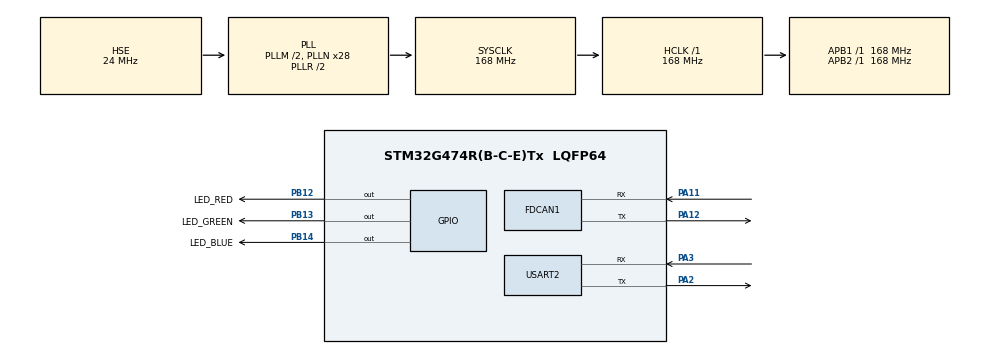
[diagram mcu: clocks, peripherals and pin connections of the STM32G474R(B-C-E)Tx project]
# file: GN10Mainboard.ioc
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FDCAN1.CalculateBaudRateNominal=1000000
FDCAN1.CalculateTimeBitNominal=1000
FDCAN1.CalculateTimeQuantumNominal=41.666666666666664
FDCAN1.NominalPrescaler=1
FDCAN1.NominalTimeSeg1=17
FDCAN1.NominalTimeSeg2=6
Mcu.Family=STM32G4
Mcu.Name=STM32G474R(B-C-E)Tx
Mcu.Package=LQFP64
NVIC.FDCAN1_IT0_IRQn=true\:0\:0\:false\:false\:true\:true\:true\:true
NVIC.PriorityGroup=NVIC_PRIORITYGROUP_4
PA11.Mode=FDCAN_Activate
PA11.Signal=FDCAN1_RX
PA12.Mode=FDCAN_Activate
PA12.Signal=FDCAN1_TX
PA13.Mode=Serial_Wire
PA13.Signal=SYS_JTMS-SWDIO
PA14.Mode=Serial_Wire
PA14.Signal=SYS_JTCK-SWCLK
PA2.Mode=Asynchronous
PA2.Signal=USART2_TX
PA3.Mode=Asynchronous
PA3.Signal=USART2_RX
PB12.GPIO_Label=LED_RED
PB12.Signal=GPIO_Output
PB13.GPIO_Label=LED_GREEN
PB13.Signal=GPIO_Output
PB14.GPIO_Label=LED_BLUE
PB14.Signal=GPIO_Output
PC14-OSC32_IN.Mode=LSE-External-Oscillator
PC14-OSC32_IN.Signal=RCC_OSC32_IN
PC15-OSC32_OUT.Mode=LSE-External-Oscillator
PC15-OSC32_OUT.Signal=RCC_OSC32_OUT
PF0-OSC_IN.Mode=HSE-External-Oscillator
PF0-OSC_IN.Signal=RCC_OSC_IN
PF1-OSC_OUT.Mode=HSE-External-Oscillator
PF1-OSC_OUT.Signal=RCC_OSC_OUT
ProjectManager.HeapSize=0x200
ProjectManager.StackSize=0x400
ProjectManager.TargetToolchain=CMake
RCC.ADC12Freq_Value=168000000
RCC.ADC345Freq_Value=168000000
RCC.AHBFreq_Value=168000000
RCC.APB1Freq_Value=168000000
RCC.APB1TimFreq_Value=168000000
RCC.APB2Freq_Value=168000000
RCC.APB2TimFreq_Value=168000000
RCC.CortexFreq_Value=168000000
RCC.EXTERNAL_CLOCK_VALUE=12288000
RCC.FDCANCLockSelection=RCC_FDCANCLKSOURCE_HSE
RCC.HCLKFreq_Value=168000000
RCC.HSE_VALUE=24000000
RCC.HSI48_VALUE=48000000
RCC.HSI_VALUE=16000000
RCC.PLLM=RCC_PLLM_DIV2
RCC.PLLN=28
RCC.PLLSourceVirtual=RCC_PLLSOURCE_HSE
RCC.SYSCLKFreq_VALUE=168000000
RCC.SYSCLKSource=RCC_SYSCLKSOURCE_PLLCLK
RCC.USBFreq_Value=168000000
RCC.VCOOutputFreq_Value=336000000
USART2.VirtualMode-Asynchronous=VM_ASYNC
VP_SYS_VS_DBSignals.Mode=DisableDeadBatterySignals
board=custom

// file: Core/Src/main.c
/* USER CODE BEGIN Header */
/**
 ******************************************************************************
 * @file           : main.c
 * @brief          : Main program body
 ******************************************************************************
 * @attention
 *
 * Copyright (c) 2026 STMicroelectronics.
 * All rights reserved.
 *
 * This software is licensed under terms that can be found in the LICENSE file
 * in the root directory of this software component.
 * If no LICENSE file comes with this software, it is provided AS-IS.
 *
 ******************************************************************************
 */
/* USER CODE END Header */
#include "main.h"
#include "fdcan.h"
#include "usart.h"
#include "gpio.h"

/* USER CODE BEGIN Includes */
#include "app/app.hpp"
#include "stdbool.h"
/* USER CODE END Includes */

void SystemClock_Config(void);

/* USER CODE BEGIN 0 */
FDCAN_TxHeaderTypeDef TxHeader;
FDCAN_FilterTypeDef RxFilter;
FDCAN_RxHeaderTypeDef RxHeader;
uint8_t RxData[8];
bool Rxflag;
void InitCAN()
{

  RxFilter.FilterConfig = FDCAN_FILTER_TO_RXFIFO0;
  RxFilter.FilterID1 = 0x00;
  RxFilter.FilterID2 = 0x00;
  RxFilter.IdType = FDCAN_STANDARD_ID;
  RxFilter.FilterType = FDCAN_FILTER_MASK;
  RxFilter.FilterIndex = 0;

  if (HAL_FDCAN_ConfigFilter(&hfdcan1, &RxFilter) != HAL_OK)
  {
    Error_Handler();
  }
  if (HAL_FDCAN_Start(&hfdcan1) != HAL_OK)
  {
    Error_Handler();
  }
  if (HAL_FDCAN_ActivateNotification(&hfdcan1, FDCAN_IT_RX_FIFO0_NEW_MESSAGE, 0) != HAL_OK)
  {
    Error_Handler();
  }
}

bool sendPacket(uint16_t can_id, uint8_t *tx_buffer, uint8_t data_length)
{
  if (data_length > 8)
  {
    return 0;
  }

  TxHeader.Identifier = can_id;
  TxHeader.IdType = FDCAN_STANDARD_ID;
  TxHeader.TxFrameType = FDCAN_DATA_FRAME;
  TxHeader.DataLength = data_length;
  TxHeader.ErrorStateIndicator = FDCAN_ESI_ACTIVE;
  TxHeader.BitRateSwitch = FDCAN_BRS_OFF;
  TxHeader.FDFormat = FDCAN_CLASSIC_CAN;
  TxHeader.TxEventFifoControl = FDCAN_NO_TX_EVENTS;
  TxHeader.MessageMarker = 0;

  if (0 < HAL_FDCAN_GetTxFifoFreeLevel(&hfdcan1))
  {
    if (HAL_FDCAN_AddMessageToTxFifoQ(&hfdcan1, &TxHeader, tx_buffer) != HAL_OK)
    {
      Error_Handler();
      return false;
    }
  }

  else
  {
    return false;
  }
  return true;
}

/* USER CODE END 0 */

int main(void)
{

  /* MCU Configuration--------------------------------------------------------*/

  /* Reset of all peripherals, Initializes the Flash interface and the Systick. */
  HAL_Init();

  /* Configure the system clock */
  SystemClock_Config();

  /* Initialize all configured peripherals */
  MX_GPIO_Init();
  MX_FDCAN1_Init();
  MX_USART2_UART_Init();
  /* USER CODE BEGIN 2 */
  HAL_GPIO_WritePin(LED_GREEN_GPIO_Port, LED_GREEN_Pin, GPIO_PIN_SET);
  InitCAN();

  /* USER CODE END 2 */

  /* Infinite loop */
  /* USER CODE BEGIN WHILE */
  while (1)
  {
    int16_t data = 418;
    uint16_t udata = (uint16_t)data;
    uint8_t send[2];
    send[0] = (uint8_t)(udata & 0xFF);
    send[1] = (uint8_t)(udata >> 8);
    sendPacket(0x01, send, 2);

    if (Rxflag)
    {
      HAL_UART_Transmit(&huart2, RxData, 8, 10);
      Rxflag = false;
    }
    HAL_Delay(1000);
  }

  /*
  while (1)
  {
    char tx_data[] = "Hellow";
    sendPacket(0x00, (uint8_t *)tx_data, sizeof(tx_data));
    if (Rxflag)
    {
      HAL_UART_Transmit(&huart2, RxData, 8, 10);
      Rxflag = false;
    }
    HAL_Delay(1000);
  }*/
  /* USER CODE END 3 */
}

void SystemClock_Config(void)
{
  RCC_OscInitTypeDef RCC_OscInitStruct = {0};
  RCC_ClkInitTypeDef RCC_ClkInitStruct = {0};

  /** Configure the main internal regulator output voltage
   */
  HAL_PWREx_ControlVoltageScaling(PWR_REGULATOR_VOLTAGE_SCALE1_BOOST);

  /** Initializes the RCC Oscillators according to the specified parameters
   * in the RCC_OscInitTypeDef structure.
   */
  RCC_OscInitStruct.OscillatorType = RCC_OSCILLATORTYPE_HSE;
  RCC_OscInitStruct.HSEState = RCC_HSE_ON;
  RCC_OscInitStruct.PLL.PLLState = RCC_PLL_ON;
  RCC_OscInitStruct.PLL.PLLSource = RCC_PLLSOURCE_HSE;
  RCC_OscInitStruct.PLL.PLLM = RCC_PLLM_DIV2;
  RCC_OscInitStruct.PLL.PLLN = 28;
  RCC_OscInitStruct.PLL.PLLP = RCC_PLLP_DIV2;
  RCC_OscInitStruct.PLL.PLLQ = RCC_PLLQ_DIV2;
  RCC_OscInitStruct.PLL.PLLR = RCC_PLLR_DIV2;
  if (HAL_RCC_OscConfig(&RCC_OscInitStruct) != HAL_OK)
  {
    Error_Handler();
  }

  /** Initializes the CPU, AHB and APB buses clocks
   */
  RCC_ClkInitStruct.ClockType = RCC_CLOCKTYPE_HCLK | RCC_CLOCKTYPE_SYSCLK | RCC_CLOCKTYPE_PCLK1 | RCC_CLOCKTYPE_PCLK2;
  RCC_ClkInitStruct.SYSCLKSource = RCC_SYSCLKSOURCE_PLLCLK;
  RCC_ClkInitStruct.AHBCLKDivider = RCC_SYSCLK_DIV1;
  RCC_ClkInitStruct.APB1CLKDivider = RCC_HCLK_DIV1;
  RCC_ClkInitStruct.APB2CLKDivider = RCC_HCLK_DIV1;

  if (HAL_RCC_ClockConfig(&RCC_ClkInitStruct, FLASH_LATENCY_4) != HAL_OK)
  {
    Error_Handler();
  }
}

/* USER CODE BEGIN 4 */
void HAL_FDCAN_RxFifo0Callback(FDCAN_HandleTypeDef *hfdcan, uint32_t Rxfifo)
{
  if (hfdcan->Instance == hfdcan1.Instance)
  {
    if (Rxfifo != 0)
    {
      if (HAL_FDCAN_GetRxMessage(hfdcan, FDCAN_RX_FIFO0, &RxHeader, RxData) != HAL_OK)
      {
        Error_Handler();
      }
      else
      {
        Rxflag = true;
      }
    }
  }
}
/* USER CODE END 4 */

void Error_Handler(void)
{
  /* USER CODE BEGIN Error_Handler_Debug */
  /* User can add his own implementation to report the HAL error return state */
  __disable_irq();
  while (1)
  {
    HAL_GPIO_WritePin(LED_RED_GPIO_Port, LED_RED_Pin, GPIO_PIN_SET);
  }
  /* USER CODE END Error_Handler_Debug */
}
